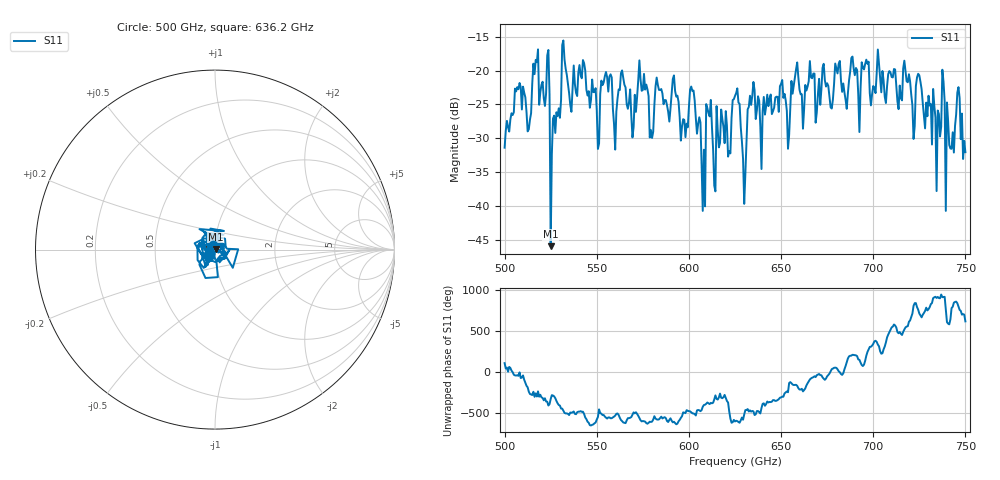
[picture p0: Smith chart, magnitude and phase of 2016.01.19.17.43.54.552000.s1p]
!Created with skrf (http://scikit-rf.org).
# GHz S RI R 50.0
!freq ReS11 ImS11
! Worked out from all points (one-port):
!   401 points, 500 GHz to 750 GHz, reference 50 ohm
!   lowest |S11| = -46.0 dB at 525 GHz (marker M1), VSWR 1.01, Z = 50.4 + j0.28 ohm
!   |S11| at or under -10 dB: start of sweep to end of sweep
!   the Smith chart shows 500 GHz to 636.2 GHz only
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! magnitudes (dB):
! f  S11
! 500 GHz  -31.4
! 506.9 GHz  -22.5
! 513.1 GHz  -28.7
! 516.9 GHz  -18.4
! 523.1 GHz  -17.8
! 525 GHz  -46.0
! 531.2 GHz  -16.2
! 550.6 GHz  -31.6
! 562.5 GHz  -22.9
! 570 GHz  -28.3
! 574.4 GHz  -23.0
! 580 GHz  -30.0
! 583.1 GHz  -22.1
! 593.8 GHz  -23.7
! 601.9 GHz  -23.0
! 607.5 GHz  -40.8
! 610.6 GHz  -26.3
! 615 GHz  -25.3
! 625 GHz  -23.8
! 630 GHz  -39.7
! 634.4 GHz  -23.8
! 656.2 GHz  -23.4
! 687.5 GHz  -20.1
! 718.8 GHz  -21.7
! 737.5 GHz  -19.9
! 740.6 GHz  -27.5
! 746.9 GHz  -24.1
! 750 GHz  -32.1
